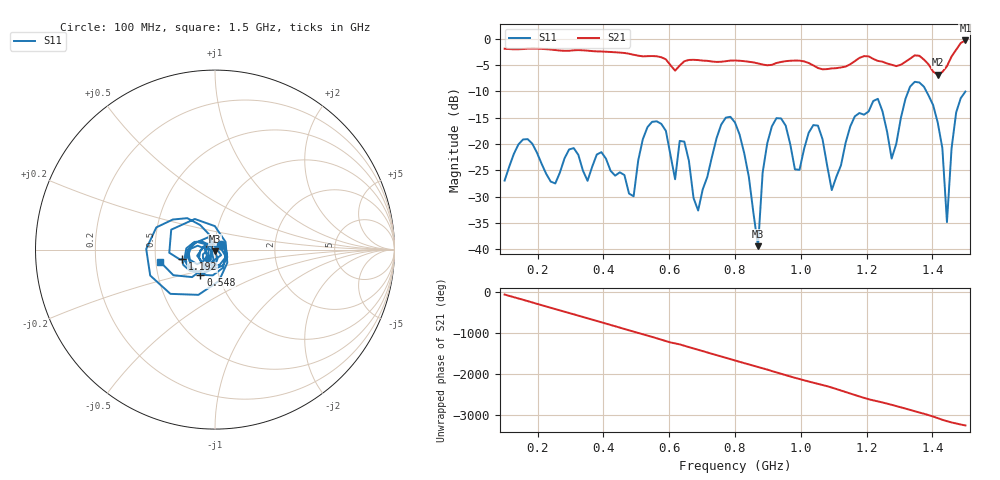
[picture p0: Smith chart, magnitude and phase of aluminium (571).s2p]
! NanoVNA-App
! Date: 2025-09-25 14:59:43
! Start: 100MHz Stop: 1,5GHz Points: 101
! S-Parameter data: F S11 S21 S12 S22
# Hz S RI R 50
!  Frequency  S11_Real  S11_Imag  S21_Real  S21_Imag  S12_Real  S12_Imag  S22_Real  S22_Imag
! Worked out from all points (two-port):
!   101 points, 100 MHz to 1.5 GHz, reference 50 ohm
!   highest |S21| = -0.35 dB at 1.5 GHz (marker M1); lowest = -6.8 dB at 1.416 GHz (marker M2)
!   |S21| within 3 dB of the highest: start of sweep to 518.1 MHz; 1.458 GHz to end of sweep (the widest 2 of 5)
!   lowest |S11| = -39.4 dB at 870 MHz (marker M3), VSWR 1.02, Z = 50.2 - j1.06 ohm
!   |S11| at or under -10 dB: start of sweep to 1.327 GHz; 1.381 GHz to end of sweep
!   S12 and S22 are empty: the file has one direction only
!   S11 on the Smith chart (normalised r, x): 100 MHz: 1.07, +0.06; 548 MHz: 0.82, -0.24; 1.192 GHz: 0.69, -0.08; 1.5 GHz: 0.53, -0.08
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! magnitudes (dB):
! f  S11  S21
! 100 MHz  -27.0  -1.9
! 156 MHz  -19.2  -2.0
! 338 MHz  -25.1  -2.2
! 492 MHz  -29.9  -3.1
! 548 MHz  -15.8  -3.3
! 576 MHz  -16.2  -3.5
! 646 MHz  -19.6  -4.3
! 688 MHz  -32.6  -4.1
! 800 MHz  -15.9  -4.2
! 870 MHz  -39.4  -4.7
! 912 MHz  -16.7  -5.0
! 996 MHz  -24.9  -4.2
! 1.038 GHz  -16.4  -5.1
! 1.094 GHz  -28.8  -5.7
! 1.192 GHz  -14.4  -3.3
! 1.234 GHz  -11.4  -4.2
! 1.276 GHz  -22.8  -5.0
! 1.346 GHz  -8.2  -3.2
! 1.416 GHz  -16.0  -6.8
! 1.444 GHz  -34.8  -5.2
! 1.472 GHz  -14.0  -2.1
! 1.5 GHz  -10.1  -0.4
